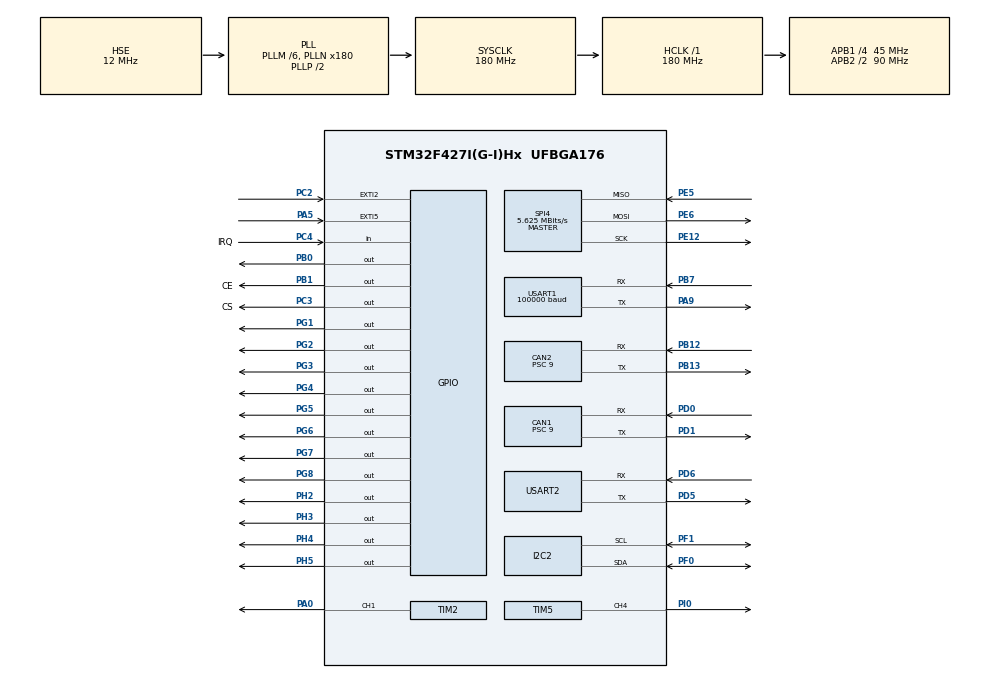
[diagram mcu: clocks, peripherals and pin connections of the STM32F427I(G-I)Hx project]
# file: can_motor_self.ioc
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CAN1.ABOM=ENABLE
CAN1.AWUM=DISABLE
CAN1.BS1=CAN_BS1_2TQ
CAN1.BS2=CAN_BS2_2TQ
CAN1.CalculateBaudRate=1000000
CAN1.CalculateTimeBit=1000
CAN1.CalculateTimeQuantum=200.0
CAN1.Prescaler=9
CAN1.TTCM=DISABLE
CAN2.BS1=CAN_BS1_2TQ
CAN2.BS2=CAN_BS2_2TQ
CAN2.CalculateBaudRate=1000000
CAN2.CalculateTimeBit=1000
CAN2.CalculateTimeQuantum=200.0
CAN2.Prescaler=9
Dma.Request0=USART2_RX
Dma.Request1=USART2_TX
Dma.USART2_RX.0.Direction=DMA_PERIPH_TO_MEMORY
Dma.USART2_RX.0.FIFOMode=DMA_FIFOMODE_DISABLE
Dma.USART2_RX.0.Instance=DMA1_Stream5
Dma.USART2_RX.0.MemDataAlignment=DMA_MDATAALIGN_BYTE
Dma.USART2_RX.0.MemInc=DMA_MINC_ENABLE
Dma.USART2_RX.0.Mode=DMA_NORMAL
Dma.USART2_RX.0.PeriphDataAlignment=DMA_PDATAALIGN_BYTE
Dma.USART2_RX.0.PeriphInc=DMA_PINC_DISABLE
Dma.USART2_RX.0.Priority=DMA_PRIORITY_LOW
Dma.USART2_TX.1.Direction=DMA_MEMORY_TO_PERIPH
Dma.USART2_TX.1.FIFOMode=DMA_FIFOMODE_DISABLE
Dma.USART2_TX.1.Instance=DMA1_Stream6
Dma.USART2_TX.1.MemDataAlignment=DMA_MDATAALIGN_BYTE
Dma.USART2_TX.1.MemInc=DMA_MINC_ENABLE
Dma.USART2_TX.1.Mode=DMA_NORMAL
Dma.USART2_TX.1.PeriphDataAlignment=DMA_PDATAALIGN_BYTE
Dma.USART2_TX.1.PeriphInc=DMA_PINC_DISABLE
Dma.USART2_TX.1.Priority=DMA_PRIORITY_LOW
Mcu.Family=STM32F4
Mcu.Name=STM32F427I(G-I)Hx
Mcu.Package=UFBGA176
NVIC.CAN1_RX0_IRQn=true\:0\:0\:false\:false\:true\:true\:true\:true
NVIC.CAN1_RX1_IRQn=true\:0\:0\:false\:false\:true\:true\:true\:true
NVIC.CAN2_RX0_IRQn=true\:0\:0\:false\:false\:true\:true\:true\:true
NVIC.DMA1_Stream5_IRQn=true\:0\:0\:false\:false\:true\:false\:true\:true
NVIC.DMA1_Stream6_IRQn=true\:0\:0\:false\:false\:true\:false\:true\:true
NVIC.PriorityGroup=NVIC_PRIORITYGROUP_4
NVIC.USART1_IRQn=true\:0\:0\:false\:false\:true\:true\:true\:true
NVIC.USART2_IRQn=true\:0\:0\:false\:false\:true\:true\:true\:true
PA0/WKUP.Signal=S_TIM2_CH1_ETR
PA1.Signal=S_TIM2_CH2
PA13.Mode=Serial_Wire
PA13.Signal=SYS_JTMS-SWDIO
PA14.Mode=Serial_Wire
PA14.Signal=SYS_JTCK-SWCLK
PA2.Signal=S_TIM2_CH3
PA5.Signal=GPXTI5
PA9.Mode=Asynchronous
PA9.Signal=USART1_TX
PB0.PinState=GPIO_PIN_SET
PB0.Signal=GPIO_Output
PB1.GPIO_Label=CE
PB1.GPIO_PuPd=GPIO_PULLUP
PB1.GPIO_Speed=GPIO_SPEED_FREQ_HIGH
PB1.PinState=GPIO_PIN_SET
PB1.Signal=GPIO_Output
PB12.Mode=CAN_Activate
PB12.Signal=CAN2_RX
PB13.Mode=CAN_Activate
PB13.Signal=CAN2_TX
PB7.Mode=Asynchronous
PB7.Signal=USART1_RX
PC2.Signal=GPXTI2
PC3.GPIO_Label=CS
PC3.GPIO_PuPd=GPIO_PULLUP
PC3.GPIO_Speed=GPIO_SPEED_FREQ_HIGH
PC3.PinState=GPIO_PIN_SET
PC3.Signal=GPIO_Output
PC4.GPIO_Label=IRQ
PC4.GPIO_PuPd=GPIO_PULLUP
PC4.Signal=GPIO_Input
PD0.Mode=CAN_Activate
PD0.Signal=CAN1_RX
PD1.Mode=CAN_Activate
PD1.Signal=CAN1_TX
PD5.Mode=Asynchronous
PD5.Signal=USART2_TX
PD6.Mode=Asynchronous
PD6.Signal=USART2_RX
PE12.Mode=Full_Duplex_Master
PE12.Signal=SPI4_SCK
PE5.Mode=Full_Duplex_Master
PE5.Signal=SPI4_MISO
PE6.Mode=Full_Duplex_Master
PE6.Signal=SPI4_MOSI
PF0.Mode=I2C
PF0.Signal=I2C2_SDA
PF1.Mode=I2C
PF1.Signal=I2C2_SCL
PG1.GPIO_ModeDefaultOutputPP=GPIO_MODE_OUTPUT_PP
PG1.GPIO_PuPd=GPIO_PULLUP
PG1.Signal=GPIO_Output
PG2.Signal=GPIO_Output
PG3.Signal=GPIO_Output
PG4.Signal=GPIO_Output
PG5.Signal=GPIO_Output
PG6.Signal=GPIO_Output
PG7.Signal=GPIO_Output
PG8.Signal=GPIO_Output
PH0/OSC_IN.Mode=HSE-External-Oscillator
PH0/OSC_IN.Signal=RCC_OSC_IN
PH1/OSC_OUT.Mode=HSE-External-Oscillator
PH1/OSC_OUT.Signal=RCC_OSC_OUT
PH2.GPIO_PuPd=GPIO_PULLUP
PH2.Signal=GPIO_Output
PH3.GPIO_PuPd=GPIO_PULLUP
PH3.Signal=GPIO_Output
PH4.GPIO_PuPd=GPIO_PULLUP
PH4.PinState=GPIO_PIN_SET
PH4.Signal=GPIO_Output
PH5.GPIO_PuPd=GPIO_PULLUP
PH5.PinState=GPIO_PIN_RESET
PH5.Signal=GPIO_Output
PI0.Signal=S_TIM5_CH4
ProjectManager.HeapSize=0x200
ProjectManager.StackSize=0x400
ProjectManager.TargetToolchain=MDK-ARM V5.32
RCC.48MHZClocksFreq_Value=90000000
RCC.AHBFreq_Value=180000000
RCC.APB1CLKDivider=RCC_HCLK_DIV4
RCC.APB1Freq_Value=45000000
RCC.APB1TimFreq_Value=90000000
RCC.APB2CLKDivider=RCC_HCLK_DIV2
RCC.APB2Freq_Value=90000000
RCC.APB2TimFreq_Value=180000000
RCC.CortexFreq_Value=180000000
RCC.HCLKFreq_Value=180000000
RCC.HSE_VALUE=12000000
RCC.HSI_VALUE=16000000
RCC.LSE_VALUE=32768
RCC.PLLM=6
RCC.PLLN=180
RCC.PLLSourceVirtual=RCC_PLLSOURCE_HSE
RCC.SYSCLKFreq_VALUE=180000000
RCC.SYSCLKSource=RCC_SYSCLKSOURCE_PLLCLK
RCC.VCOOutputFreq_Value=360000000
SH.S_TIM2_CH1_ETR.0=TIM2_CH1,PWM Generation1 CH1
SH.S_TIM2_CH2.0=TIM2_CH2
SH.S_TIM2_CH3.0=TIM2_CH3
SH.S_TIM5_CH4.0=TIM5_CH4,PWM Generation4 CH4
SPI4.BaudRatePrescaler=SPI_BAUDRATEPRESCALER_16
SPI4.CLKPhase=SPI_PHASE_1EDGE
SPI4.CLKPolarity=SPI_POLARITY_LOW
SPI4.CRCCalculation=SPI_CRCCALCULATION_DISABLE
SPI4.CalculateBaudRate=5.625 MBits/s
SPI4.DataSize=SPI_DATASIZE_8BIT
SPI4.Direction=SPI_DIRECTION_2LINES
SPI4.Mode=SPI_MODE_MASTER
SPI4.VirtualType=VM_MASTER
TIM2.AutoReloadPreload=TIM_AUTORELOAD_PRELOAD_ENABLE
TIM2.Channel-PWM\ Generation1\ CH1=TIM_CHANNEL_1
TIM2.Period=2000
TIM2.Prescaler=180-1
TIM2.Pulse-PWM\ Generation1\ CH1=0
TIM5.AutoReloadPreload=TIM_AUTORELOAD_PRELOAD_ENABLE
TIM5.Channel-PWM\ Generation4\ CH4=TIM_CHANNEL_4
TIM5.Period=20000-1
TIM5.Prescaler=84-1
USART1.BaudRate=100000
USART1.Mode=MODE_RX
USART1.VirtualMode=VM_ASYNC
USART2.VirtualMode=VM_ASYNC
VP_TIM2_VS_ClockSourceINT.Mode=Internal
board=custom

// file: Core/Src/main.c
/* USER CODE BEGIN Header */
/**
  ******************************************************************************
  * @file           : main.c
  * @brief          : Main program body
  ******************************************************************************
  * @attention
  *
  * Copyright (c) 2024 STMicroelectronics.
  * All rights reserved.
  *
  * This software is licensed under terms that can be found in the LICENSE file
  * in the root directory of this software component.
  * If no LICENSE file comes with this software, it is provided AS-IS.
  *
  ******************************************************************************
  */
/* USER CODE END Header */
#include "main.h"
#include "can.h"
#include "dma.h"
#include "i2c.h"
#include "spi.h"
#include "tim.h"
#include "usart.h"
#include "gpio.h"

/* USER CODE BEGIN Includes */
#include "CAN_receive.h"
#include "bsp_can.h"
#include "A_bsp.h"
#include "motor.h"
#include "Servos.h"
#include "nrf24L01.h"
#include "stdio.h"
#include "remote_control.h"
#include "lingzu.h"
/* USER CODE END Includes */

/* USER CODE BEGIN PV */
chassis_move_t chassis_move;
float angle_lingzu=0;
int AAAA=0;

/* USER CODE END PV */

void SystemClock_Config(void);

int main(void)
{

  /* MCU Configuration--------------------------------------------------------*/

  /* Reset of all peripherals, Initializes the Flash interface and the Systick. */
  HAL_Init();

  /* Configure the system clock */
  SystemClock_Config();

  /* Initialize all configured peripherals */
  MX_GPIO_Init();
  MX_DMA_Init();
  MX_CAN1_Init();
  MX_TIM2_Init();
  MX_SPI4_Init();
  MX_USART2_UART_Init();
  MX_I2C2_Init();
  MX_TIM5_Init();
  MX_USART1_UART_Init();
  MX_CAN2_Init();
  /* USER CODE BEGIN 2 */

	can_filter_init(&hcan1);//配置CAN过滤器
	can_filter_init(&hcan2);
	HAL_CAN_Start(&hcan1);   //开启CAN总开关
	HAL_CAN_Start(&hcan2);   //开启CAN总开关
	HAL_CAN_ActivateNotification(&hcan1, CAN_IT_RX_FIFO0_MSG_PENDING);//启动CAN1接收中断
	HAL_CAN_ActivateNotification(&hcan2, CAN_IT_RX_FIFO0_MSG_PENDING);//启动CAN2接收中断
//	remote_control_Init();
  /* USER CODE END 2 */

  /* Infinite loop */
  /* USER CODE BEGIN WHILE */

//	chassis_init(&chassis_move);
	init_cybergear(&mi_motor[0], 0x7F, Motion_mode);//小米电机初始化
	set_zeropos_cybergear(&mi_motor[0]);//设置电机零点
	HAL_Delay(1);
		init_cybergear(&mi_motor[1],0x7E, Motion_mode);//小米电机初始化
	set_zeropos_cybergear(&mi_motor[1]);//设置电机零点

  while (1)
  {
	  motor_controlmode(&mi_motor[0], 0, 0, 0, 20 , 0.5);
		motor_controlmode(&mi_motor[1], 0, 0, 0, 20 , 0.5);
  if(AAAA==1)
		{
		motor_controlmode(&mi_motor[0], 0,   25*(PI/180),  0,  20 , 0.5);    //角度  KP 为快慢
		motor_controlmode(&mi_motor[1], 0,   -25*(PI/180),  0,  20 , 0.5);    //角度  KP 为快慢
			HAL_Delay(80);
		motor_controlmode(&mi_motor[0], 0,   -25*(PI/180),  0,  20 , 0.5);    //角度  KP 为快慢
		motor_controlmode(&mi_motor[1], 0,    25*(PI/180),  0,  20 , 0.5);    //角度  KP 为快慢
		  HAL_Delay(80);
	  motor_controlmode(&mi_motor[0], 0,    0*(PI/180),  0,  20 , 0.5);    //角度  KP 为快慢
		motor_controlmode(&mi_motor[1], 0,   -0*(PI/180),  0,  20 , 0.5);    //角度  KP 为快慢
//      HAL_Delay(60);

	}
    HAL_Delay(5);

//		remote_control_task();
//		chassis_feedback_update(&chassis_move);//底盘数据更新
//		chassis_control_loop(&chassis_move);//底盘控制PID计算
//		CAN_cmd_chassis(chassis_move.motor_chassis[0].give_current,chassis_move.motor_chassis[1].give_current,chassis_move.motor_chassis[2].give_current,chassis_move.motor_chassis[3].give_current);
//		CAN2_cmd_chassis(chassis_move.motor_chassis[4].give_current,chassis_move.motor_chassis[5].give_current,chassis_move.motor_chassis[6].give_current,chassis_move.motor_chassis[7].give_current);
//		CAN_cmd_gimbal(chassis_move.motor_6020[0].give_current,chassis_move.motor_6020[1].give_current,0,0);
//		HAL_Delay(5);

    /* USER CODE END WHILE */

  }
}

void SystemClock_Config(void)
{
  RCC_OscInitTypeDef RCC_OscInitStruct = {0};
  RCC_ClkInitTypeDef RCC_ClkInitStruct = {0};

  /** Configure the main internal regulator output voltage
  */
  __HAL_RCC_PWR_CLK_ENABLE();
  __HAL_PWR_VOLTAGESCALING_CONFIG(PWR_REGULATOR_VOLTAGE_SCALE1);

  /** Initializes the RCC Oscillators according to the specified parameters
  * in the RCC_OscInitTypeDef structure.
  */
  RCC_OscInitStruct.OscillatorType = RCC_OSCILLATORTYPE_HSE;
  RCC_OscInitStruct.HSEState = RCC_HSE_ON;
  RCC_OscInitStruct.PLL.PLLState = RCC_PLL_ON;
  RCC_OscInitStruct.PLL.PLLSource = RCC_PLLSOURCE_HSE;
  RCC_OscInitStruct.PLL.PLLM = 6;
  RCC_OscInitStruct.PLL.PLLN = 180;
  RCC_OscInitStruct.PLL.PLLP = RCC_PLLP_DIV2;
  RCC_OscInitStruct.PLL.PLLQ = 4;
  if (HAL_RCC_OscConfig(&RCC_OscInitStruct) != HAL_OK)
  {
    Error_Handler();
  }

  /** Activate the Over-Drive mode
  */
  if (HAL_PWREx_EnableOverDrive() != HAL_OK)
  {
    Error_Handler();
  }

  /** Initializes the CPU, AHB and APB buses clocks
  */
  RCC_ClkInitStruct.ClockType = RCC_CLOCKTYPE_HCLK|RCC_CLOCKTYPE_SYSCLK
                              |RCC_CLOCKTYPE_PCLK1|RCC_CLOCKTYPE_PCLK2;
  RCC_ClkInitStruct.SYSCLKSource = RCC_SYSCLKSOURCE_PLLCLK;
  RCC_ClkInitStruct.AHBCLKDivider = RCC_SYSCLK_DIV1;
  RCC_ClkInitStruct.APB1CLKDivider = RCC_HCLK_DIV4;
  RCC_ClkInitStruct.APB2CLKDivider = RCC_HCLK_DIV2;

  if (HAL_RCC_ClockConfig(&RCC_ClkInitStruct, FLASH_LATENCY_5) != HAL_OK)
  {
    Error_Handler();
  }
}

/* USER CODE BEGIN 4 */

void HAL_UART_RxCpltCallback(UART_HandleTypeDef *huart)
{
	if(huart->Instance == USART1)
	{
		remote_control_callback();

	}
}
/* USER CODE END 4 */

void Error_Handler(void)
{
  __disable_irq();
  while (1)
  {
  }
}
